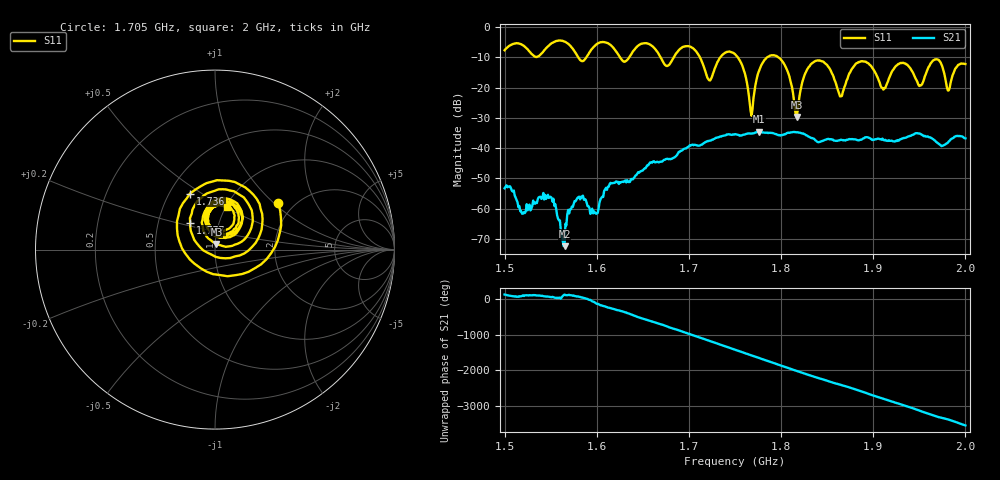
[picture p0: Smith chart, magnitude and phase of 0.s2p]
! NanoVNA-App by SYSJOINT et al v1.1.209 (+OD18)
! Date: 2026-01-21 14:46:13
! Start: 1,5GHz Stop: 2GHz Points: 501
! S-Parameter data: F S11 S21 S12 S22
# Hz S RI R 50
!  Frequency  S11_Real  S11_Imag  S21_Real  S21_Imag  S12_Real  S12_Imag  S22_Real  S22_Imag
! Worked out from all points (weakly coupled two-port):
!   501 points, 1.5 GHz to 2 GHz, reference 50 ohm
!   highest |S21| = -34.58 dB at 1.776 GHz (marker M1); lowest = -72.4 dB at 1.565 GHz (marker M2)
!   lowest |S11| = -29.7 dB at 1.817 GHz (marker M3), VSWR 1.07, Z = 50.7 + j3.21 ohm
!   |S11| at or under -10 dB: 1.712 GHz to 1.734 GHz (22.28 MHz wide, 1.29 % of centre); 1.753 GHz to 1.785 GHz (32.11 MHz wide, 1.82 % of centre); 1.797 GHz to end of sweep (the widest 3 of 6)
!   S12 and S22 are empty: the file has one direction only
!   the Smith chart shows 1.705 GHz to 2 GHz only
!   S11 on the Smith chart (normalised r, x): 1.705 GHz: 1.67, +1.07; 1.736 GHz: 0.63, +0.45; 1.777 GHz: 0.73, +0.23; 2 GHz: 1.01, +0.51
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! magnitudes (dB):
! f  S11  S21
! 1.5 GHz  -7.7  -53.3
! 1.52 GHz  -6.1  -61.7
! 1.549 GHz  -5.9  -56.1
! 1.565 GHz  -4.8  -72.4
! 1.584 GHz  -11.3  -56.2
! 1.599 GHz  -5.9  -61.6
! 1.667 GHz  -8.8  -44.7
! 1.705 GHz  -7.2  -39.0
! 1.722 GHz  -17.6  -37.6
! 1.736 GHz  -9.3  -36.0
! 1.75 GHz  -9.0  -35.4
! 1.768 GHz  -29.3  -35.2
! 1.776 GHz  -14.6  -34.6
! 1.777 GHz  -13.8  -34.6
! 1.8 GHz  -10.8  -35.7
! 1.817 GHz  -29.7  -34.8
! 1.834 GHz  -11.9  -36.7
! 1.865 GHz  -22.9  -37.2
! 1.886 GHz  -11.4  -37.3
! 1.917 GHz  -17.0  -37.4
! 1.982 GHz  -20.9  -37.8
! 2 GHz  -12.3  -36.8
